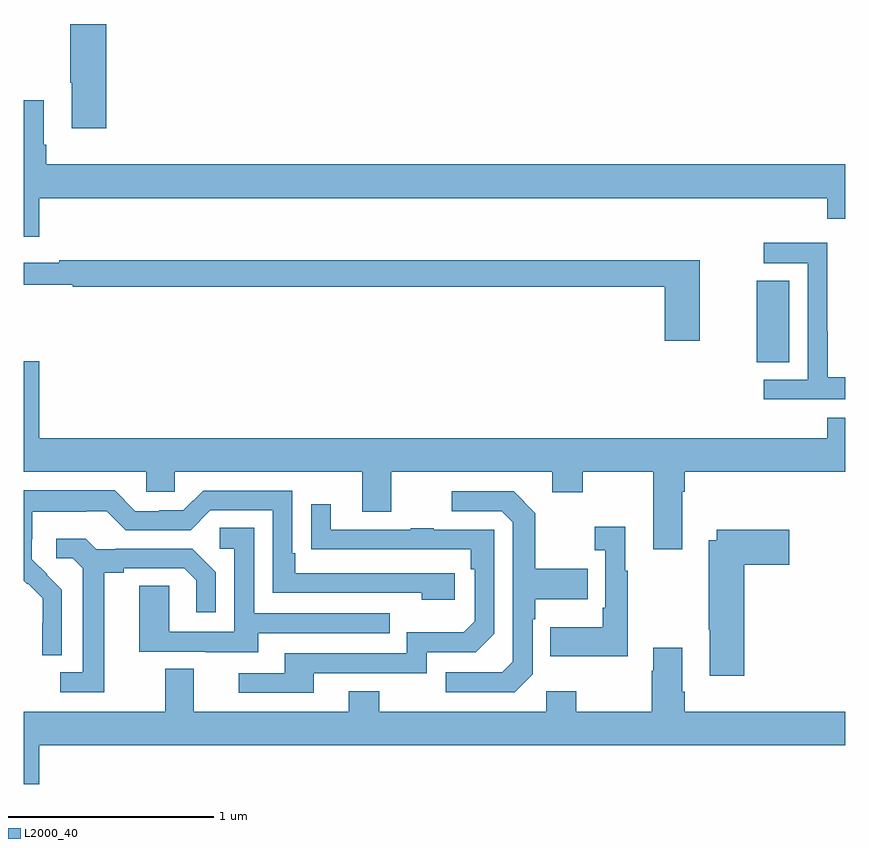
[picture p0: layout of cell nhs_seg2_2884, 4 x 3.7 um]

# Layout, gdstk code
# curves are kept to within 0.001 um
import gdstk
lib = gdstk.Library(unit=1e-6, precision=1e-09)
def R(c, l, rs):  # rectangles x0, y0, x1, y1
    for r in rs: c.add(gdstk.rectangle(r[:2], r[2:], *l))
def P(c, l, *ps):  # polygons
    for p in ps: c.add(gdstk.Polygon(p, *l))
L2000_40 = (2000, 40)

nhs_seg2_2884 = lib.new_cell('nhs_seg2_2884')
R(nhs_seg2_2884, L2000_40, [(264.569,664.153,264.727,664.55)])
P(nhs_seg2_2884, L2000_40, [(261.401,665.8),(261.226,665.8),(261.226,665.515),(261.233,665.515),(261.233,665.292),(261.401,665.292)],
  [(261.076,664.952),(264.911,664.952),(264.911,664.853),(265,664.853),(265,665.116),(261.11,665.116),(261.11,665.212),(261.097,665.212),(261.097,665.428),(261,665.428),(261,664.764),(261.076,664.764)],
  [(265,664.081),(264.915,664.081),(264.915,664.304),(264.912,664.304),(264.912,664.734),(264.603,664.734),(264.603,664.635),(264.816,664.635),(264.816,664.068),(264.603,664.068),(264.603,663.972),(265,663.972)],
  [(264.292,664.651),(261.172,664.651),(261.172,664.638),(261,664.638),(261,664.53),(261.238,664.53),(261.238,664.522),(264.122,664.522),(264.122,664.257),(264.292,664.257)],
  [(264.205,663.524),(264.218,663.524),(264.218,663.62),(265,663.62),(265,663.883),(264.911,663.883),(264.911,663.784),(261.076,663.784),(261.076,664.159),(261,664.159),(261,663.62),(261.597,663.62),(261.597,663.522),(261.735,663.522),(261.735,663.62),(262.649,663.62),(262.649,663.426),(262.789,663.426),(262.789,663.62),(263.573,663.62),(263.573,663.521),(263.721,663.521),(263.721,663.62),(264.065,663.62),(264.065,663.243),(264.205,663.243)],
  [(261.186,663.046),(261.04,663.194),(261.04,663.291),(261.042,663.291),(261.042,663.425),(261.305,663.425),(261.305,663.429),(261.405,663.429),(261.498,663.336),(261.813,663.336),(261.909,663.432),(262.212,663.432),(262.212,663.03),(262.937,663.03),(262.937,662.996),(263.098,662.996),(263.098,663.126),(262.321,663.126),(262.321,663.223),(262.308,663.223),(262.308,663.528),(261.873,663.528),(261.777,663.432),(261.659,663.432),(261.659,663.429),(261.543,663.429),(261.443,663.529),(261,663.529),(261,663.09),(261.018,663.072),(261.021,663.075),(261.092,663.005),(261.092,662.882),(261.09,662.882),(261.09,662.728),(261.186,662.728)],
  [(263.478,662.634),(263.478,662.903),(263.491,662.903),(263.491,662.999),(263.747,662.999),(263.747,663.147),(263.491,663.147),(263.491,663.419),(263.385,663.525),(263.085,663.525),(263.085,663.429),(263.328,663.429),(263.382,663.375),(263.382,662.694),(263.331,662.643),(263.055,662.643),(263.055,662.547),(263.391,662.547)],
  [(262.411,662.64),(262.962,662.64),(262.962,662.742),(263.202,662.742),(263.292,662.832),(263.292,663.339),(262.997,663.339),(262.997,663.344),(262.885,663.344),(262.885,663.339),(262.495,663.339),(262.495,663.463),(262.399,663.463),(262.399,663.244),(263.176,663.243),(263.176,663.146),(263.196,663.146),(263.196,662.892),(263.143,662.839),(262.866,662.839),(262.866,662.736),(262.271,662.736),(262.271,662.64),(262.047,662.64),(262.047,662.544),(262.411,662.544)],
  [(263.941,663.139),(263.929,663.139),(263.929,663.352),(263.781,663.352),(263.781,663.239),(263.832,663.239),(263.832,662.959),(263.82,662.959),(263.82,662.863),(263.563,662.863),(263.563,662.723),(263.941,662.723)],
  [(262.141,662.835),(262.781,662.835),(262.781,662.931),(262.122,662.931),(262.122,663.347),(261.954,663.347),(261.954,663.246),(262.026,663.246),(262.026,662.841),(261.708,662.841),(261.708,663.065),(261.563,663.065),(261.563,662.745),(261.887,662.745),(261.887,662.741),(262.141,662.741)],
  [(264.509,663.167),(264.727,663.167),(264.727,663.337),(264.374,663.337),(264.374,663.286),(264.334,663.286),(264.334,662.851),(264.341,662.851),(264.341,662.628),(264.509,662.628)],
  [(261.391,663.128),(261.487,663.128),(261.487,663.15),(261.782,663.15),(261.839,663.093),(261.839,662.937),(261.936,662.937),(261.936,663.13),(261.82,663.246),(261.448,663.246),(261.448,663.243),(261.354,663.243),(261.302,663.295),(261.159,663.295),(261.159,663.198),(261.24,663.198),(261.287,663.151),(261.287,662.643),(261.177,662.643),(261.177,662.547),(261.391,662.547)],
  [(261.076,662.288),(265,662.288),(265,662.452),(264.218,662.452),(264.218,662.548),(264.205,662.548),(264.205,662.764),(264.065,662.764),(264.065,662.651),(264.058,662.651),(264.058,662.452),(263.691,662.452),(263.691,662.551),(263.544,662.551),(263.544,662.452),(262.731,662.452),(262.731,662.551),(262.583,662.551),(262.583,662.452),(261.829,662.452),(261.829,662.66),(261.689,662.66),(261.689,662.452),(261,662.452),(261,662.1),(261.076,662.1)])

lib.write_gds('nhs_seg2_2884.gds')
